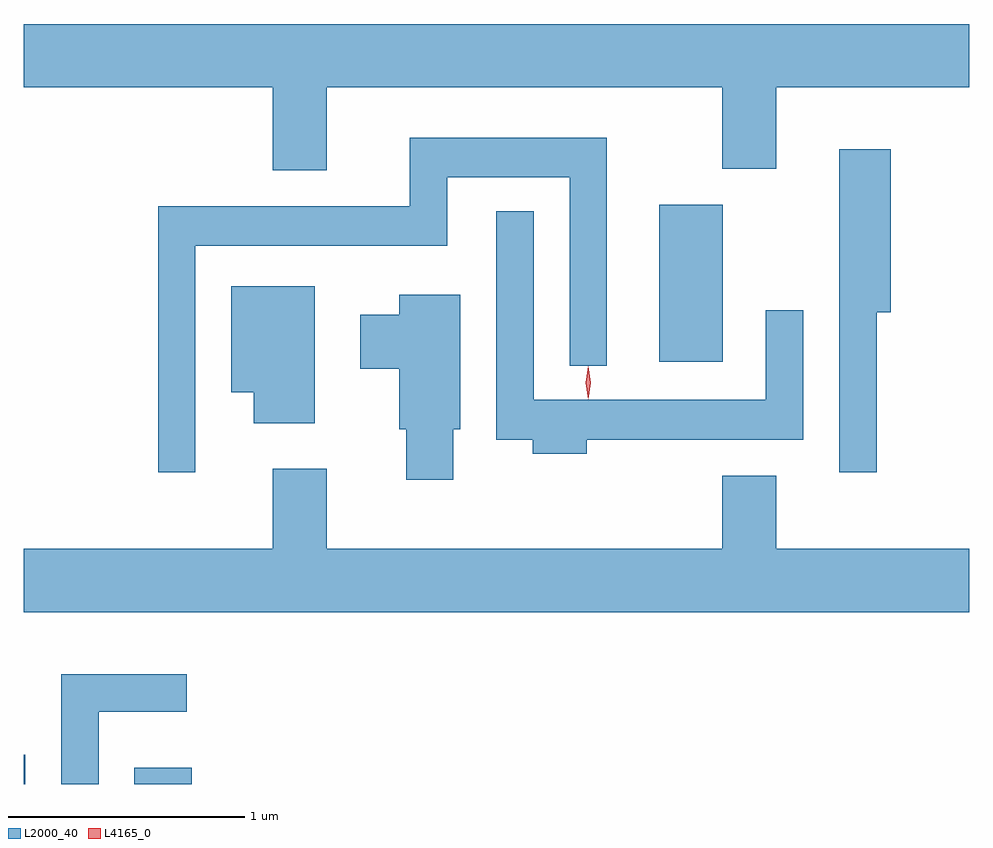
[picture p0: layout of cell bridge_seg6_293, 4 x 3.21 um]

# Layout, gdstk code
import gdstk
lib = gdstk.Library(unit=1e-6, precision=1e-09)
def R(c, l, rs):  # rectangles x0, y0, x1, y1
    for r in rs: c.add(gdstk.rectangle(r[:2], r[2:], *l))
def P(c, l, *ps):  # polygons
    for p in ps: c.add(gdstk.Polygon(p, *l))
L2000_40 = (2000, 40)
L4165_0 = (4165, 0)

bridge_seg6_293 = lib.new_cell('bridge_seg6_293')
R(bridge_seg6_293, L2000_40, [(1241.537,1560.41,1241.544,1560.534), (1242.006,1560.41,1242.249,1560.479), (1244.226,1562.196,1244.494,1562.859)])
P(bridge_seg6_293, L2000_40, [(1242.819,1563.356),(1244.491,1563.356),(1244.491,1563.011),(1244.719,1563.011),(1244.719,1563.356),(1245.537,1563.356),(1245.537,1563.624),(1241.537,1563.624),(1241.537,1563.356),(1242.591,1563.356),(1242.591,1563.006),(1242.819,1563.006)],
  [(1242.264,1562.686),(1243.329,1562.686),(1243.329,1562.976),(1243.846,1562.976),(1243.846,1562.178),(1244.004,1562.178),(1244.004,1563.144),(1243.171,1563.144),(1243.171,1562.854),(1242.106,1562.854),(1242.106,1561.728),(1242.264,1561.728)],
  [(1245.144,1562.406),(1245.204,1562.406),(1245.204,1563.094),(1244.986,1563.094),(1244.986,1561.728),(1245.144,1561.728)],
  [(1243.919,1561.866),(1244.834,1561.866),(1244.834,1562.413),(1244.676,1562.413),(1244.676,1562.034),(1243.694,1562.034),(1243.694,1562.833),(1243.536,1562.833),(1243.536,1561.866),(1243.691,1561.866),(1243.691,1561.806),(1243.919,1561.806)],
  [(1242.769,1562.514),(1242.416,1562.514),(1242.416,1562.066),(1242.511,1562.066),(1242.511,1561.936),(1242.769,1561.936)],
  [(1243.354,1561.911),(1243.384,1561.911),(1243.384,1562.479),(1243.126,1562.479),(1243.126,1562.394),(1242.961,1562.394),(1242.961,1562.166),(1243.126,1562.166),(1243.126,1561.911),(1243.156,1561.911),(1243.156,1561.696),(1243.354,1561.696)],
  [(1245.537,1561.404),(1244.719,1561.404),(1244.719,1561.714),(1244.491,1561.714),(1244.491,1561.404),(1242.819,1561.404),(1242.819,1561.744),(1242.591,1561.744),(1242.591,1561.404),(1241.537,1561.404),(1241.537,1561.136),(1245.537,1561.136)],
  [(1241.854,1560.716),(1242.228,1560.716),(1242.228,1560.874),(1241.696,1560.874),(1241.696,1560.41),(1241.854,1560.41)])
P(bridge_seg6_293, L4165_0, [(1243.925,1562.037),(1243.924,1562.038),(1243.915,1562.107),(1243.924,1562.176),(1243.925,1562.176),(1243.926,1562.176),(1243.935,1562.107),(1243.926,1562.038)],
  [(1243.924,1562.04),(1243.924,1562.04),(1243.915,1562.106),(1243.924,1562.172),(1243.925,1562.173),(1243.925,1562.172),(1243.934,1562.106),(1243.925,1562.04)])

lib.write_gds('bridge_seg6_293.gds')
